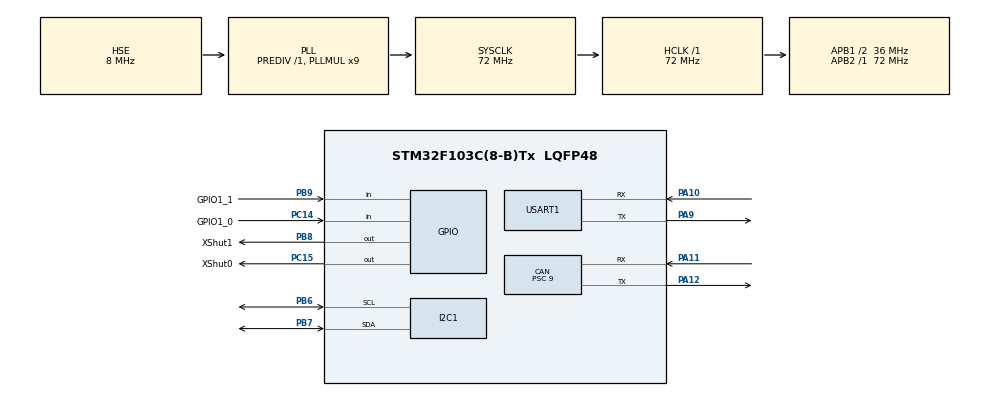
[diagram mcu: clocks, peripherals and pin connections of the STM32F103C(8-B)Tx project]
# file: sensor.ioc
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CAN.BS1=CAN_BS1_6TQ
CAN.BS2=CAN_BS2_1TQ
CAN.CalculateBaudRate=500000
CAN.CalculateTimeBit=2000
CAN.CalculateTimeQuantum=250.0
CAN.Prescaler=9
Mcu.Family=STM32F1
Mcu.Name=STM32F103C(8-B)Tx
Mcu.Package=LQFP48
NVIC.PriorityGroup=NVIC_PRIORITYGROUP_4
PA10.Mode=Asynchronous
PA10.Signal=USART1_RX
PA11.Mode=CAN_Activate
PA11.Signal=CAN_RX
PA12.Mode=CAN_Activate
PA12.Signal=CAN_TX
PA9.Mode=Asynchronous
PA9.Signal=USART1_TX
PB6.Mode=I2C
PB6.Signal=I2C1_SCL
PB7.Mode=I2C
PB7.Signal=I2C1_SDA
PB8.GPIO_Label=XShut1
PB8.Signal=GPIO_Output
PB9.GPIO_Label=GPIO1_1
PB9.Signal=GPIO_Input
PC14-OSC32_IN.GPIO_Label=GPIO1_0
PC14-OSC32_IN.Signal=GPIO_Input
PC15-OSC32_OUT.GPIO_Label=XShut0
PC15-OSC32_OUT.Signal=GPIO_Output
PD0-OSC_IN.Mode=HSE-External-Oscillator
PD0-OSC_IN.Signal=RCC_OSC_IN
PD1-OSC_OUT.Mode=HSE-External-Oscillator
PD1-OSC_OUT.Signal=RCC_OSC_OUT
ProjectManager.HeapSize=0x200
ProjectManager.StackSize=0x400
ProjectManager.TargetToolchain=STM32CubeIDE
RCC.AHBFreq_Value=72000000
RCC.APB1CLKDivider=RCC_HCLK_DIV2
RCC.APB1Freq_Value=36000000
RCC.APB1TimFreq_Value=72000000
RCC.APB2Freq_Value=72000000
RCC.APB2TimFreq_Value=72000000
RCC.HCLKFreq_Value=72000000
RCC.PLLMUL=RCC_PLL_MUL9
RCC.PLLSourceVirtual=RCC_PLLSOURCE_HSE
RCC.SYSCLKFreq_VALUE=72000000
RCC.SYSCLKSource=RCC_SYSCLKSOURCE_PLLCLK
RCC.USBFreq_Value=72000000
USART1.VirtualMode=VM_ASYNC
VP_SYS_VS_ND.Mode=No_Debug
board=custom

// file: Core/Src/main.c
/* USER CODE BEGIN Header */
/**
  ******************************************************************************
  * @file           : main.c
  * @brief          : Main program body
  ******************************************************************************
  * @attention
  *
  * Copyright (c) 2025 STMicroelectronics.
  * All rights reserved.
  *
  * This software is licensed under terms that can be found in the LICENSE file
  * in the root directory of this software component.
  * If no LICENSE file comes with this software, it is provided AS-IS.
  *
  ******************************************************************************
  */
/* USER CODE END Header */
#include "main.h"

/* USER CODE BEGIN PD */
#define VL53L1_0_ADDR 0x54
#define VL53L1_1_ADDR 0x56
/* USER CODE END PD */

CAN_HandleTypeDef hcan;

I2C_HandleTypeDef hi2c1;

UART_HandleTypeDef huart1;

/* USER CODE BEGIN PV */
GPIO_HandlerStruct XShut0 = { .Pin = XShut0_Pin, .Port = XShut0_GPIO_Port };
GPIO_HandlerStruct XShut1 = { .Pin = XShut1_Pin, .Port = XShut1_GPIO_Port };
GPIO_HandlerStruct GPIO1_0 = { .Pin = GPIO1_0_Pin, .Port = GPIO1_0_GPIO_Port };
GPIO_HandlerStruct GPIO1_1 = { .Pin = GPIO1_1_Pin, .Port = GPIO1_1_GPIO_Port };
static uint16_t Distance_0 = 0;
static uint16_t Distance_1 = 0;
CAN_TxHeaderTypeDef TxHeader = {
		.DLC = 2,
		.IDE = CAN_ID_STD,
		.RTR = CAN_RTR_DATA,
		.StdId = 0x45
};
uint8_t TxData[8] = {0};
uint32_t TxMailbox;
/* USER CODE END PV */

void SystemClock_Config(void);
static void MX_GPIO_Init(void);
static void MX_CAN_Init(void);
static void MX_I2C1_Init(void);
static void MX_USART1_UART_Init(void);

/* USER CODE BEGIN 0 */
void Start_CAN(void)
{
	if(HAL_CAN_Start(&hcan) == HAL_ERROR)
	{
		HAL_UART_Transmit(&huart1, (uint8_t*)"\n\rFail to start CAN", 25, 100);
		Error_Handler();
	}
}

void Start_sensor(void)
{
	HAL_GPIO_WritePin(XShut0.Port, XShut0.Pin, 0);
	HAL_GPIO_WritePin(XShut1.Port, XShut1.Pin, 0);
	while(VL53L1__Init(VL53L1_1_ADDR, XShut1) != 0){}
	while(VL53L1__Init(VL53L1_0_ADDR, XShut0) != 0){}
	VL53L1X_StartRanging(VL53L1_0_ADDR);
	VL53L1X_StartRanging(VL53L1_1_ADDR);
}

void Read_sensor(void)
{
	VL53L1__GetDistance(VL53L1_0_ADDR, GPIO1_0, &Distance_0);
	VL53L1__GetDistance(VL53L1_1_ADDR, GPIO1_1, &Distance_1);
}

void Send_CAN(void)
{
	if (HAL_CAN_AddTxMessage(&hcan, &TxHeader, TxData, &TxMailbox) != HAL_OK)
	{
	   Error_Handler ();
	}
}

void Avoid_Object(void)
{
	Read_sensor();
	if(Distance_0 < 250 || Distance_1 < 250)
	{
		TxData[1] = 20;
		if(Distance_0 < Distance_1)
		{
			TxData[0] = 25;
			HAL_Delay(100);
		}
		if(Distance_0 > Distance_1)
		{
			TxData[0] = 5;
		}
	}
	else
	{
		TxData[0] = 15;
		TxData[1] = 40;
	}
	Send_CAN();
}

/* USER CODE END 0 */

int main(void)
{

  /* MCU Configuration--------------------------------------------------------*/

  /* Reset of all peripherals, Initializes the Flash interface and the Systick. */
  HAL_Init();

  /* Configure the system clock */
  SystemClock_Config();

  /* Initialize all configured peripherals */
  MX_GPIO_Init();
  MX_CAN_Init();
  MX_I2C1_Init();
  MX_USART1_UART_Init();
  /* USER CODE BEGIN 2 */
  Start_sensor();
  Start_CAN();
  /* USER CODE END 2 */

  /* Infinite loop */
  /* USER CODE BEGIN WHILE */
  while (1)
  {
	  Avoid_Object();
	  HAL_Delay(10);
    /* USER CODE END WHILE */

  }
}

void SystemClock_Config(void)
{
  RCC_OscInitTypeDef RCC_OscInitStruct = {0};
  RCC_ClkInitTypeDef RCC_ClkInitStruct = {0};

  /** Initializes the RCC Oscillators according to the specified parameters
  * in the RCC_OscInitTypeDef structure.
  */
  RCC_OscInitStruct.OscillatorType = RCC_OSCILLATORTYPE_HSE;
  RCC_OscInitStruct.HSEState = RCC_HSE_ON;
  RCC_OscInitStruct.HSEPredivValue = RCC_HSE_PREDIV_DIV1;
  RCC_OscInitStruct.HSIState = RCC_HSI_ON;
  RCC_OscInitStruct.PLL.PLLState = RCC_PLL_ON;
  RCC_OscInitStruct.PLL.PLLSource = RCC_PLLSOURCE_HSE;
  RCC_OscInitStruct.PLL.PLLMUL = RCC_PLL_MUL9;
  if (HAL_RCC_OscConfig(&RCC_OscInitStruct) != HAL_OK)
  {
    Error_Handler();
  }

  /** Initializes the CPU, AHB and APB buses clocks
  */
  RCC_ClkInitStruct.ClockType = RCC_CLOCKTYPE_HCLK|RCC_CLOCKTYPE_SYSCLK
                              |RCC_CLOCKTYPE_PCLK1|RCC_CLOCKTYPE_PCLK2;
  RCC_ClkInitStruct.SYSCLKSource = RCC_SYSCLKSOURCE_PLLCLK;
  RCC_ClkInitStruct.AHBCLKDivider = RCC_SYSCLK_DIV1;
  RCC_ClkInitStruct.APB1CLKDivider = RCC_HCLK_DIV2;
  RCC_ClkInitStruct.APB2CLKDivider = RCC_HCLK_DIV1;

  if (HAL_RCC_ClockConfig(&RCC_ClkInitStruct, FLASH_LATENCY_2) != HAL_OK)
  {
    Error_Handler();
  }
}

static void MX_CAN_Init(void)
{

  hcan.Instance = CAN1;
  hcan.Init.Prescaler = 9;
  hcan.Init.Mode = CAN_MODE_NORMAL;
  hcan.Init.SyncJumpWidth = CAN_SJW_1TQ;
  hcan.Init.TimeSeg1 = CAN_BS1_6TQ;
  hcan.Init.TimeSeg2 = CAN_BS2_1TQ;
  hcan.Init.TimeTriggeredMode = DISABLE;
  hcan.Init.AutoBusOff = DISABLE;
  hcan.Init.AutoWakeUp = DISABLE;
  hcan.Init.AutoRetransmission = DISABLE;
  hcan.Init.ReceiveFifoLocked = DISABLE;
  hcan.Init.TransmitFifoPriority = DISABLE;
  if (HAL_CAN_Init(&hcan) != HAL_OK)
  {
    Error_Handler();
  }

}

static void MX_I2C1_Init(void)
{

  hi2c1.Instance = I2C1;
  hi2c1.Init.ClockSpeed = 100000;
  hi2c1.Init.DutyCycle = I2C_DUTYCYCLE_2;
  hi2c1.Init.OwnAddress1 = 0;
  hi2c1.Init.AddressingMode = I2C_ADDRESSINGMODE_7BIT;
  hi2c1.Init.DualAddressMode = I2C_DUALADDRESS_DISABLE;
  hi2c1.Init.OwnAddress2 = 0;
  hi2c1.Init.GeneralCallMode = I2C_GENERALCALL_DISABLE;
  hi2c1.Init.NoStretchMode = I2C_NOSTRETCH_DISABLE;
  if (HAL_I2C_Init(&hi2c1) != HAL_OK)
  {
    Error_Handler();
  }

}

static void MX_USART1_UART_Init(void)
{

  huart1.Instance = USART1;
  huart1.Init.BaudRate = 115200;
  huart1.Init.WordLength = UART_WORDLENGTH_8B;
  huart1.Init.StopBits = UART_STOPBITS_1;
  huart1.Init.Parity = UART_PARITY_NONE;
  huart1.Init.Mode = UART_MODE_TX_RX;
  huart1.Init.HwFlowCtl = UART_HWCONTROL_NONE;
  huart1.Init.OverSampling = UART_OVERSAMPLING_16;
  if (HAL_UART_Init(&huart1) != HAL_OK)
  {
    Error_Handler();
  }

}

static void MX_GPIO_Init(void)
{
  GPIO_InitTypeDef GPIO_InitStruct = {0};

  /* GPIO Ports Clock Enable */
  __HAL_RCC_GPIOC_CLK_ENABLE();
  __HAL_RCC_GPIOD_CLK_ENABLE();
  __HAL_RCC_GPIOA_CLK_ENABLE();
  __HAL_RCC_GPIOB_CLK_ENABLE();

  /*Configure GPIO pin Output Level */
  HAL_GPIO_WritePin(XShut0_GPIO_Port, XShut0_Pin, GPIO_PIN_RESET);

  /*Configure GPIO pin Output Level */
  HAL_GPIO_WritePin(XShut1_GPIO_Port, XShut1_Pin, GPIO_PIN_RESET);

  /*Configure GPIO pin : GPIO1_0_Pin */
  GPIO_InitStruct.Pin = GPIO1_0_Pin;
  GPIO_InitStruct.Mode = GPIO_MODE_INPUT;
  GPIO_InitStruct.Pull = GPIO_NOPULL;
  HAL_GPIO_Init(GPIO1_0_GPIO_Port, &GPIO_InitStruct);

  /*Configure GPIO pin : XShut0_Pin */
  GPIO_InitStruct.Pin = XShut0_Pin;
  GPIO_InitStruct.Mode = GPIO_MODE_OUTPUT_PP;
  GPIO_InitStruct.Pull = GPIO_NOPULL;
  GPIO_InitStruct.Speed = GPIO_SPEED_FREQ_LOW;
  HAL_GPIO_Init(XShut0_GPIO_Port, &GPIO_InitStruct);

  /*Configure GPIO pin : XShut1_Pin */
  GPIO_InitStruct.Pin = XShut1_Pin;
  GPIO_InitStruct.Mode = GPIO_MODE_OUTPUT_PP;
  GPIO_InitStruct.Pull = GPIO_NOPULL;
  GPIO_InitStruct.Speed = GPIO_SPEED_FREQ_LOW;
  HAL_GPIO_Init(XShut1_GPIO_Port, &GPIO_InitStruct);

  /*Configure GPIO pin : GPIO1_1_Pin */
  GPIO_InitStruct.Pin = GPIO1_1_Pin;
  GPIO_InitStruct.Mode = GPIO_MODE_INPUT;
  GPIO_InitStruct.Pull = GPIO_NOPULL;
  HAL_GPIO_Init(GPIO1_1_GPIO_Port, &GPIO_InitStruct);

}

void Error_Handler(void)
{
  __disable_irq();
  while (1)
  {
  }
}
